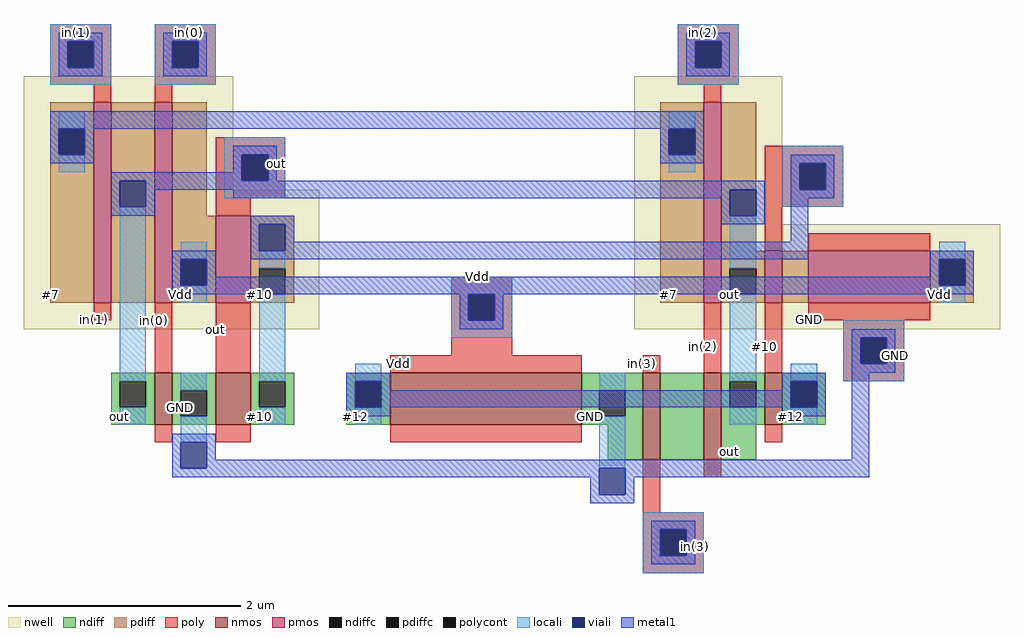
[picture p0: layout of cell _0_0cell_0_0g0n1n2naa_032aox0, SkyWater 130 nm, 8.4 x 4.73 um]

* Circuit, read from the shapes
.subckt _0_0cell_0_0g0n1n2naa_032aox0 GND Vdd in(3) in(2) in(1) out in(0)
XM1 GND in(0) out VSUBS sky130_fd_pr__nfet_01v8 w=0.45 l=0.15
XM2 #10 out GND VSUBS sky130_fd_pr__nfet_01v8 w=0.45 l=0.3
XM3 GND Vdd #12 VSUBS sky130_fd_pr__nfet_01v8 w=0.45 l=1.65
XM4 n1 in(3) GND VSUBS sky130_fd_pr__nfet_01v8 w=0.75 l=0.15
XM5 out in(2) n1 VSUBS sky130_fd_pr__nfet_01v8 w=0.75 l=0.15
XM6 #12 #10 out VSUBS sky130_fd_pr__nfet_01v8 w=0.45 l=0.15
XM7 n2 in(1) #7 n3 sky130_fd_pr__pfet_01v8 w=1.725 l=0.15
XM8 Vdd in(0) n2 n3 sky130_fd_pr__pfet_01v8 w=1.725 l=0.15
XM9 #10 out Vdd n3 sky130_fd_pr__pfet_01v8 w=0.75 l=0.3
XM10 out in(2) #7 n4 sky130_fd_pr__pfet_01v8 w=1.725 l=0.15
XM11 n5 #10 out n4 sky130_fd_pr__pfet_01v8 w=0.45 l=0.15
XM12 Vdd GND n5 n4 sky130_fd_pr__pfet_01v8 w=0.45 l=1.05
.ends

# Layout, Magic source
magic
tech sky130A
magscale 1 2
<< nwell >>
rect 75 555 435 750
rect 75 315 583 555
rect 1125 495 1380 750
rect 1125 315 1755 495
<< nmos >>
rect 300 150 330 240
rect 405 150 465 240
rect 705 150 1035 240
rect 1140 90 1170 240
rect 1245 90 1275 240
rect 1350 150 1380 240
<< pmos >>
rect 195 360 225 705
rect 300 360 330 705
rect 405 360 465 510
rect 1245 360 1275 705
rect 1350 360 1380 450
rect 1425 360 1635 450
<< ndiff >>
rect 225 225 300 240
rect 225 180 240 225
rect 285 180 300 225
rect 225 150 300 180
rect 330 210 405 240
rect 330 165 345 210
rect 390 165 405 210
rect 330 150 405 165
rect 465 225 540 240
rect 465 180 480 225
rect 525 180 540 225
rect 465 150 540 180
rect 630 225 705 240
rect 630 180 645 225
rect 690 180 705 225
rect 630 150 705 180
rect 1035 210 1140 240
rect 1035 165 1065 210
rect 1110 165 1140 210
rect 1035 150 1140 165
rect 1080 90 1140 150
rect 1170 90 1245 240
rect 1275 225 1350 240
rect 1275 180 1290 225
rect 1335 180 1350 225
rect 1275 150 1350 180
rect 1380 225 1455 240
rect 1380 180 1395 225
rect 1440 180 1455 225
rect 1380 150 1455 180
rect 1275 90 1335 150
<< pdiff >>
rect 120 660 195 705
rect 120 615 135 660
rect 180 615 195 660
rect 120 360 195 615
rect 225 360 300 705
rect 330 510 390 705
rect 1170 660 1245 705
rect 1170 615 1185 660
rect 1230 615 1245 660
rect 330 435 405 510
rect 330 390 345 435
rect 390 390 405 435
rect 330 360 405 390
rect 465 420 540 510
rect 465 375 480 420
rect 525 375 540 420
rect 465 360 540 375
rect 1170 360 1245 615
rect 1275 450 1335 705
rect 1275 420 1350 450
rect 1275 375 1290 420
rect 1335 375 1350 420
rect 1275 360 1350 375
rect 1380 360 1425 450
rect 1635 435 1710 450
rect 1635 390 1650 435
rect 1695 390 1710 435
rect 1635 360 1710 390
<< ndiffc >>
rect 240 180 285 225
rect 345 165 390 210
rect 480 180 525 225
rect 645 180 690 225
rect 1065 165 1110 210
rect 1290 180 1335 225
rect 1395 180 1440 225
<< pdiffc >>
rect 135 615 180 660
rect 1185 615 1230 660
rect 345 390 390 435
rect 480 375 525 420
rect 1290 375 1335 420
rect 1650 390 1695 435
<< poly >>
rect 120 810 225 840
rect 120 765 150 810
rect 195 765 225 810
rect 120 735 225 765
rect 195 705 225 735
rect 300 810 405 840
rect 300 765 330 810
rect 375 765 405 810
rect 300 735 405 765
rect 1200 810 1305 840
rect 1200 765 1230 810
rect 1275 765 1305 810
rect 1200 735 1305 765
rect 300 705 330 735
rect 1245 705 1275 735
rect 405 615 525 645
rect 405 570 450 615
rect 495 570 525 615
rect 405 540 525 570
rect 405 510 465 540
rect 810 375 915 405
rect 195 330 225 360
rect 300 240 330 360
rect 405 240 465 360
rect 810 330 840 375
rect 885 330 915 375
rect 1350 600 1485 630
rect 1350 555 1410 600
rect 1455 555 1485 600
rect 1350 525 1485 555
rect 1350 450 1380 525
rect 1425 450 1635 480
rect 810 270 915 330
rect 705 240 1035 270
rect 1140 240 1170 270
rect 1245 240 1275 360
rect 1350 240 1380 360
rect 1425 330 1635 360
rect 1485 300 1590 330
rect 1485 255 1515 300
rect 1560 255 1590 300
rect 300 120 330 150
rect 405 120 465 150
rect 705 120 1035 150
rect 1485 225 1590 255
rect 1350 120 1380 150
rect 1140 0 1170 90
rect 1245 60 1275 90
rect 1140 -30 1245 0
rect 1140 -75 1170 -30
rect 1215 -75 1245 -30
rect 1140 -105 1245 -75
<< polycont >>
rect 150 765 195 810
rect 330 765 375 810
rect 1230 765 1275 810
rect 450 570 495 615
rect 840 330 885 375
rect 1410 555 1455 600
rect 1515 255 1560 300
rect 1170 -75 1215 -30
<< locali >>
rect 120 810 225 840
rect 120 765 150 810
rect 195 765 225 810
rect 120 735 225 765
rect 300 810 405 840
rect 300 765 330 810
rect 375 765 405 810
rect 300 735 405 765
rect 1200 810 1305 840
rect 1200 765 1230 810
rect 1275 765 1305 810
rect 1200 735 1305 765
rect 135 660 180 690
rect 1185 660 1230 690
rect 135 585 180 615
rect 420 615 525 645
rect 420 570 450 615
rect 495 570 525 615
rect 1185 585 1230 615
rect 1380 600 1485 630
rect 420 540 525 570
rect 1380 555 1410 600
rect 1455 555 1485 600
rect 240 225 285 525
rect 1380 525 1485 555
rect 345 435 390 465
rect 345 360 390 390
rect 480 420 525 450
rect 1290 420 1335 510
rect 240 150 285 180
rect 345 210 390 240
rect 345 120 390 165
rect 480 225 525 375
rect 810 375 915 405
rect 810 330 840 375
rect 885 330 915 375
rect 810 300 915 330
rect 480 150 525 180
rect 645 225 690 255
rect 645 150 690 180
rect 1065 210 1110 240
rect 1065 75 1110 165
rect 1290 225 1335 375
rect 1650 435 1695 465
rect 1650 360 1695 390
rect 1485 300 1590 330
rect 1485 255 1515 300
rect 1560 255 1590 300
rect 1290 150 1335 180
rect 1395 225 1440 255
rect 1485 225 1590 255
rect 1395 150 1440 180
rect 1140 -30 1245 0
rect 1140 -75 1170 -30
rect 1215 -75 1245 -30
rect 1140 -105 1245 -75
<< viali >>
rect 150 765 195 810
rect 330 765 375 810
rect 1230 765 1275 810
rect 135 615 180 660
rect 450 570 495 615
rect 1185 615 1230 660
rect 240 525 285 570
rect 1410 555 1455 600
rect 1290 510 1335 555
rect 345 390 390 435
rect 480 450 525 495
rect 840 330 885 375
rect 645 180 690 225
rect 345 75 390 120
rect 1650 390 1695 435
rect 1515 255 1560 300
rect 1395 180 1440 225
rect 1065 30 1110 75
rect 1170 -75 1215 -30
<< metal1 >>
rect 135 810 210 825
rect 135 765 150 810
rect 195 765 210 810
rect 135 750 210 765
rect 315 810 390 825
rect 315 765 330 810
rect 375 765 390 810
rect 315 750 390 765
rect 1215 810 1290 825
rect 1215 765 1230 810
rect 1275 765 1290 810
rect 1215 750 1290 765
rect 120 660 1245 690
rect 120 615 135 660
rect 180 615 195 660
rect 120 600 195 615
rect 435 615 510 630
rect 435 585 450 615
rect 225 570 450 585
rect 495 570 510 615
rect 1170 615 1185 660
rect 1230 615 1245 660
rect 1170 600 1245 615
rect 1395 600 1470 615
rect 225 525 240 570
rect 285 555 1350 570
rect 285 525 300 555
rect 435 540 1290 555
rect 225 510 300 525
rect 1275 510 1290 540
rect 1335 510 1350 555
rect 465 495 540 510
rect 1275 495 1350 510
rect 1395 555 1410 600
rect 1455 555 1470 600
rect 1395 540 1470 555
rect 465 450 480 495
rect 525 465 540 495
rect 1395 465 1425 540
rect 525 450 1425 465
rect 330 435 405 450
rect 465 435 1425 450
rect 1635 435 1710 450
rect 330 390 345 435
rect 390 405 405 435
rect 1635 405 1650 435
rect 390 390 1650 405
rect 1695 390 1710 435
rect 330 375 1710 390
rect 825 330 840 375
rect 885 330 900 375
rect 825 315 900 330
rect 1500 300 1575 315
rect 1500 255 1515 300
rect 1560 255 1575 300
rect 1500 240 1575 255
rect 630 225 705 240
rect 630 180 645 225
rect 690 210 705 225
rect 1380 225 1455 240
rect 1380 210 1395 225
rect 690 180 1395 210
rect 1440 180 1455 225
rect 630 165 705 180
rect 1380 165 1455 180
rect 330 120 405 135
rect 330 75 345 120
rect 390 90 405 120
rect 1500 90 1530 240
rect 390 75 1530 90
rect 330 60 1065 75
rect 1050 30 1065 60
rect 1110 60 1530 75
rect 1110 30 1125 60
rect 1050 15 1125 30
rect 1155 -30 1230 -15
rect 1155 -75 1170 -30
rect 1215 -75 1230 -30
rect 1155 -90 1230 -75
<< labels >>
flabel poly 1245 285 1245 285 3 FreeSerif 120 0 0 0 in(2)
flabel poly 1350 285 1350 285 3 FreeSerif 120 0 0 0 #10
flabel poly 720 255 720 255 3 FreeSerif 120 0 0 0 Vdd
rlabel poly 197 332 197 332 3 in(1)
rlabel poly 1427 332 1427 332 3 GND
flabel poly 300 330 300 330 3 FreeSerif 120 0 0 0 in(0)
flabel poly 405 315 405 315 3 FreeSerif 120 0 0 0 out
flabel pdiff 120 375 120 375 3 FreeSerif 120 0 0 0 #7
flabel pdiff 345 375 345 375 3 FreeSerif 120 0 0 0 Vdd
flabel pdiff 480 375 480 375 3 FreeSerif 120 0 0 0 #10
flabel pdiff 1185 375 1185 375 3 FreeSerif 120 0 0 0 #7
flabel pdiff 1290 375 1290 375 3 FreeSerif 120 0 0 0 out
flabel pdiff 1650 375 1650 375 3 FreeSerif 120 0 0 0 Vdd
flabel poly 1440 330 1440 330 1 FreeSerif 120 0 0 0 GND
flabel ndiff 1395 165 1395 165 3 FreeSerif 120 0 0 0 #12
flabel ndiff 1290 105 1290 105 3 FreeSerif 120 0 0 0 out
flabel poly 1140 255 1140 255 3 FreeSerif 120 0 0 0 in(3)
flabel ndiff 1050 165 1050 165 3 FreeSerif 120 0 0 0 GND
flabel ndiff 645 165 645 165 3 FreeSerif 120 0 0 0 #12
flabel ndiff 480 165 480 165 3 FreeSerif 120 0 0 0 #10
flabel ndiff 240 165 240 165 3 FreeSerif 120 0 0 0 out
flabel poly 195 345 195 345 3 FreeSerif 120 0 0 0 in(1)
flabel ndiff 345 180 345 180 3 FreeSerif 120 0 0 0 GND
flabel metal1 165 825 165 825 1 FreeSerif 120 0 0 0 in(1)
port 5 n
flabel metal1 360 825 360 825 1 FreeSerif 120 0 0 0 in(0)
port 7 n
flabel metal1 1230 -60 1230 -60 3 FreeSerif 120 0 0 0 in(3)
port 3 e
flabel metal1 1245 825 1245 825 1 FreeSerif 120 0 0 0 in(2)
port 4 n
flabel metal1 1575 270 1575 270 3 FreeSerif 120 0 0 0 GND
port 1 e
flabel metal1 510 600 510 600 3 FreeSerif 120 0 0 0 out
port 6 e
flabel metal1 855 405 855 405 1 FreeSerif 120 0 0 0 Vdd
port 2 n
<< end >>
